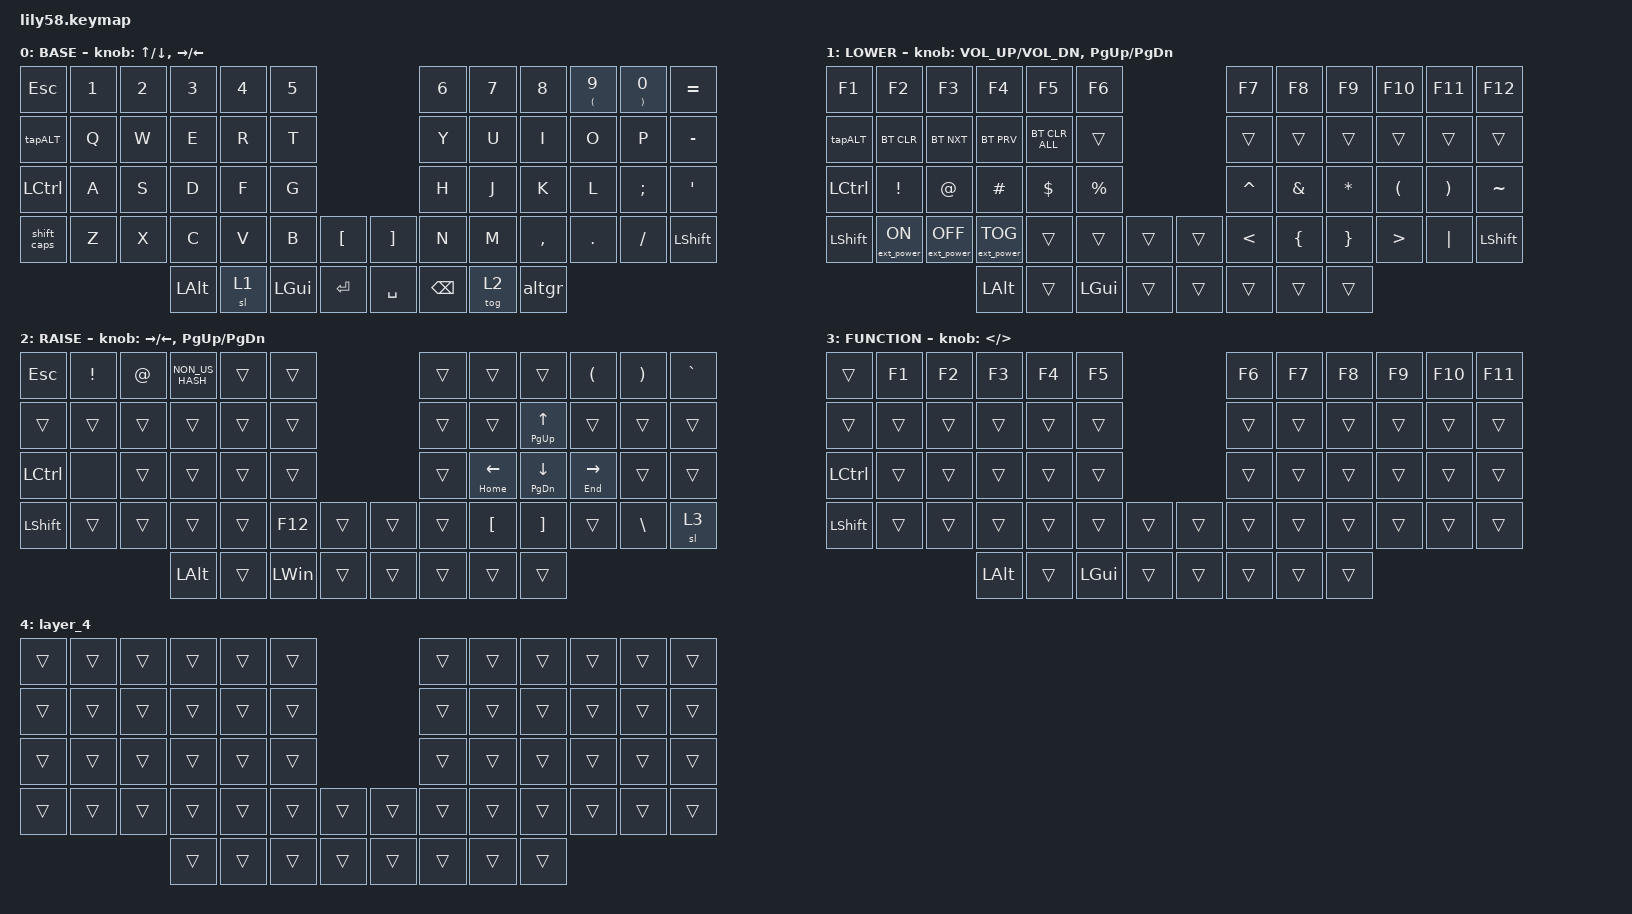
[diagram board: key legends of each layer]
/*
 * Copyright (c) 2020 The ZMK Contributors
 *
 * SPDX-License-Identifier: MIT
 */

#include <behaviors.dtsi>
#include <dt-bindings/zmk/bt.h>
#include <dt-bindings/zmk/ext_power.h>
#include <dt-bindings/zmk/keys.h>

/ {
    sensors {
        compatible = "zmk,keymap-sensors";
        sensors = <&left_encoder &right_encoder>;
        triggers-per-rotation = <30>;
    };
};

&led_strip { chain-length = <37>; };

&nice_view_spi { cs-gpios = <&pro_micro 4 GPIO_ACTIVE_HIGH>; };

/ {
    combos { compatible = "zmk,combos"; };

    behaviors {
        pgup: pgup {
            compatible = "zmk,behavior-hold-tap";
            label = "PGUP";
            bindings = <&kp>, <&kp>;

            #binding-cells = <2>;
            flavor = "tap-preferred";
            tapping-term-ms = <200>;
            hold-trigger-key-positions = <33>;
        };

        tapALT: tapALT {
            compatible = "zmk,behavior-tap-dance";
            label = "TAPALT";
            #binding-cells = <0>;
            bindings = <&kp TAB>, <&kp LA(TAB)>;
        };

        altgr: altgr {
            compatible = "zmk,behavior-tap-dance";
            label = "ALTGR";
            #binding-cells = <0>;
            bindings = <&kp DEL>, <&kp LC(LEFT_ALT)>;

            tapping-term-ms = <250>;
        };

        shift_caps: shift_caps {
            compatible = "zmk,behavior-tap-dance";
            label = "SHIFT_CAPS";
            #binding-cells = <0>;
            bindings = <&kp LEFT_SHIFT>, <&kp CAPSLOCK>;
        };
    };

    keymap {
        compatible = "zmk,keymap";

        default_layer {
            label = "BASE";

            // ------------------------------------------------------------------------------------------------------------
            // |  ESC  |  1  |  2  |  3   |  4   |  5   |                   |  6   |  7    |  8    |  9   |   0   |   `   |
            // |  TAB  |  Q  |  W  |  E   |  R   |  T   |                   |  Y   |  U    |  I    |  O   |   P   |   -   |
            // |  CTRL |  A  |  S  |  D   |  F   |  G   |                   |  H   |  J    |  K    |  L   |   ;   |   '   |
            // | SHIFT |  Z  |  X  |  C   |  V   |  B   |   "["  |  |  "]"  |  N   |  M    |  ,    |  .   |   /   | SHIFT |
            //                     | ALT  | GUI  | LOWER|  SPACE |  | ENTER | RAISE| BSPC  | GUI   |

            bindings = <
&kp ESC      &kp NUMBER_1  &kp NUMBER_2  &kp NUMBER_3  &kp N4  &kp N5                                 &kp N6         &kp N7  &kp N8     &pgup LEFT_PARENTHESIS NUMBER_9  &pgup RIGHT_PARENTHESIS N0  &kp EQUAL
&tapALT      &kp Q         &kp W         &kp E         &kp R   &kp T                                  &kp Y          &kp U   &kp I      &kp O                            &kp P                       &kp MINUS
&kp LCTRL    &kp A         &kp S         &kp D         &kp F   &kp G                                  &kp H          &kp J   &kp K      &kp L                            &kp SEMI                    &kp SQT
&shift_caps  &kp Z         &kp X         &kp C         &kp V   &kp B         &kp LBKT      &kp RBKT   &kp N          &kp M   &kp COMMA  &kp DOT                          &kp FSLH                    &kp LEFT_SHIFT
                                         &kp LALT      &sl 1   &kp LEFT_GUI  &kp RETURN    &kp SPACE  &kp BACKSPACE  &tog 2  &altgr
            >;

            sensor-bindings =
                <&inc_dec_kp UP_ARROW DOWN_ARROW>,
                <&inc_dec_kp RIGHT_ARROW LEFT_ARROW>;
        };

        lower_layer {
            label = "LOWER";

            // ------------------------------------------------------------------------------------------------------------
            // | BTCLR | BT1 | BT2 |  BT3 |  BT4 |  BT5 |                   |      |       |       |      |       |       |
            // |  F1   |  F2 |  F3 |  F4  |  F5  |  F6  |                   |  F7  |  F8   |  F9   |  F10 |  F11  |  F12  |
            // |   `   |  !  |  @  |  #   |  $   |  %   |                   |  ^   |  &    |  *    |  (   |   )   |   ~   |
            // |       |     |     |      |      |      |        |  |       |      |  _    |  +    |  {   |   }   |  "|"  |
            //                     |      |      |      |        |  |       |      |       |       |

            bindings = <
&kp F1            &kp F2            &kp F3             &kp F4             &kp F5          &kp F6                          &kp F7     &kp F8          &kp F9           &kp F10   &kp F11   &kp F12
&tapALT           &bt BT_CLR        &bt BT_NXT         &bt BT_PRV         &bt BT_CLR_ALL  &trans                          &trans     &trans          &trans           &trans    &trans    &trans
&kp LEFT_CONTROL  &kp EXCL          &kp AT             &kp HASH           &kp DOLLAR      &kp PRCNT                       &kp CARET  &kp AMPS        &kp ASTRK        &kp LPAR  &kp RPAR  &kp TILDE
&kp LEFT_SHIFT    &ext_power EP_ON  &ext_power EP_OFF  &ext_power EP_TOG  &trans          &trans        &trans    &trans  &kp LT     &kp LEFT_BRACE  &kp RIGHT_BRACE  &kp GT    &kp PIPE  &kp LEFT_SHIFT
                                                       &kp LEFT_ALT       &trans          &kp LEFT_GUI  &trans    &trans  &trans     &trans          &trans
            >;

            sensor-bindings =
                <&inc_dec_kp C_VOL_UP C_VOL_DN>,
                <&inc_dec_kp PG_UP PG_DN>;
        };

        raise_layer {
            label = "RAISE";

            // ------------------------------------------------------------------------------------------------------------
            // |       |     |     |      |      |      |                   |      |       |       |      |       |       |
            // |   `   |  1  |  2  |  3   |  4   |  5   |                   |  6   |   7   |   8   |  9   |   0   |       |
            // |   F1  |  F2 |  F3 |  F4  |  F5  |  F6  |                   |      |   <-  |   v   |  ^   |  ->   |       |
            // |   F7  |  F8 |  F9 |  F10 |  F11 |  F12 |        |  |       |  +   |   -   |   =   |  [   |   ]   |   \   |
            //                     |      |      |      |        |  |       |      |       |       |

            bindings = <
&kp ESC           &kp EXCL  &kp AT  &kp NON_US_HASH  &trans  &trans                          &trans  &trans            &trans                &kp LEFT_PARENTHESIS  &kp RIGHT_PARENTHESIS  &kp GRAVE
&trans            &trans    &trans  &trans           &trans  &trans                          &trans  &trans            &pgup PG_UP UP_ARROW  &trans                &trans                 &trans
&kp LEFT_CONTROL  &none     &trans  &trans           &trans  &trans                          &trans  &pgup HOME LEFT   &pgup PG_DN DOWN      &pgup END RIGHT       &trans                 &trans
&kp LEFT_SHIFT    &trans    &trans  &trans           &trans  &kp F12       &trans    &trans  &trans  &kp LEFT_BRACKET  &kp RIGHT_BRACKET     &trans                &kp BACKSLASH          &sl 3
                                    &kp LEFT_ALT     &trans  &kp LEFT_WIN  &trans    &trans  &trans  &trans            &trans
            >;

            sensor-bindings =
                <&inc_dec_kp RIGHT LEFT>,
                <&inc_dec_kp PG_UP PG_DN>;
        };

        function_layer {
            bindings = <
&trans          &kp F1  &kp F2  &kp F3        &kp F4  &kp F5                          &kp F6  &kp F7  &kp F8  &kp F9  &kp F10  &kp F11
&trans          &trans  &trans  &trans        &trans  &trans                          &trans  &trans  &trans  &trans  &trans   &trans
&kp LCTRL       &trans  &trans  &trans        &trans  &trans                          &trans  &trans  &trans  &trans  &trans   &trans
&kp LEFT_SHIFT  &trans  &trans  &trans        &trans  &trans        &trans    &trans  &trans  &trans  &trans  &trans  &trans   &trans
                                &kp LEFT_ALT  &trans  &kp LEFT_GUI  &trans    &trans  &trans  &trans  &trans
            >;

            sensor-bindings = <&inc_dec_kp LT GT>;
            label = "FUNCTION";
        };

        layer_4 {
            bindings = <
&trans  &trans  &trans  &trans  &trans  &trans                    &trans  &trans  &trans  &trans  &trans  &trans
&trans  &trans  &trans  &trans  &trans  &trans                    &trans  &trans  &trans  &trans  &trans  &trans
&trans  &trans  &trans  &trans  &trans  &trans                    &trans  &trans  &trans  &trans  &trans  &trans
&trans  &trans  &trans  &trans  &trans  &trans  &trans    &trans  &trans  &trans  &trans  &trans  &trans  &trans
                        &trans  &trans  &trans  &trans    &trans  &trans  &trans  &trans
            >;
        };
    };
};
